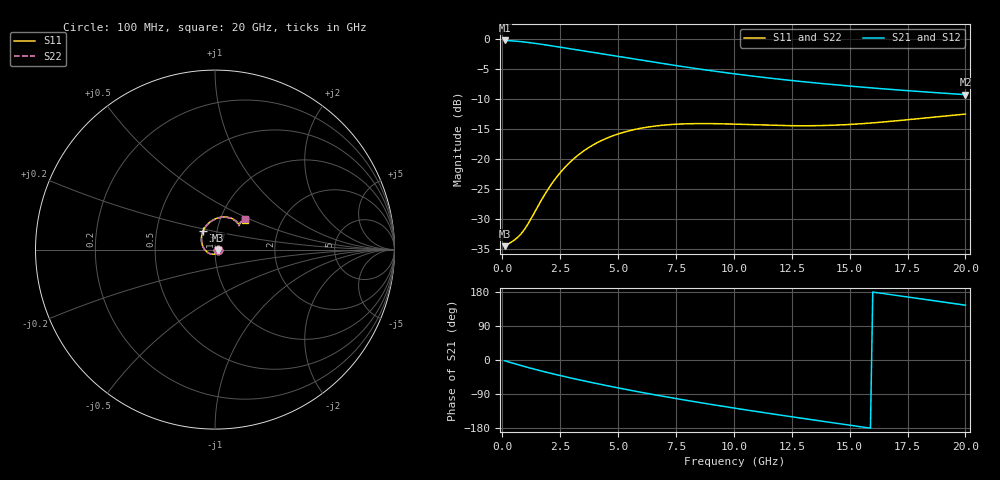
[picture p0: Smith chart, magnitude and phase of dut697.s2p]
! Touchstone file exported from HFSS 2024.1.0
!  File:  C:/UserFiles/LocalFiles/RDL_TSV_Batchsim/temp_RDL_TSV_697_1779820631.aedt
!  Generated:  02:51:00 AM May 27, 2026
!  Design:  RDL_TSV
!  Project:  temp_RDL_TSV_697_1779820631
!  Setup:  Setup1
!  Solution:  Sweep
! Variables:
!  dtsv = 9.87um
!  hbump = 3um
!  htsv = 91.05um
!  ldown = 656.28um
!  lrdl = 251.63um
!  p = 40
!  p1 = 41.56um
!  rhole = 10um
!  subl = 2975.36um
!  t = 450um
!  tdown = 2.09um
!  trdl = 2.99um
!  viad = 10um
!  wdown = 26.75um
!  wrdl = 21.98um
!  xbump = 18um
# GHz S MA R 50.000000
! Terminal data exported
! Port[1] = TM1_1_T1
! Port[2] = TM1_4_T1
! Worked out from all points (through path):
!   200 points, 100 MHz to 20 GHz, reference 50 ohm
!   highest |S21| = -0.17 dB at 100 MHz (marker M1); lowest = -9.2 dB at 20 GHz (marker M2)
!   group delay of S21, straight-line fit = 28.4 ps
!   lowest |S11| = -34.6 dB at 100 MHz (marker M3), VSWR 1.04, Z = 51.9 - j0.278 ohm
!   |S11| at or under -10 dB: start of sweep to end of sweep
!   |S22| runs from -34.6 to -12.5 dB; largest |S21 - S12| = 1.7e-14
!   S11 on the Smith chart (normalised r, x): 100 MHz: 1.04, -0.01; 3.7 GHz: 0.86, +0.18; 20 GHz: 1.31, +0.46
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0.1  0.01869 -8.2  0.9809 -1.9  0.9809 -1.9  0.01869 -8.2
! Gamma 0 0 0 0
! Port Impedance 50 0 50 0
0.6  0.02162 -59.9  0.9672 -11.0  0.9672 -11.0  0.02164 -59.8
0.9  0.02491 -93.6  0.9546 -16.2  0.9546 -16.2  0.02493 -93.4
1.2  0.03073 -123.8  0.9396 -21.2  0.9396 -21.2  0.03071 -123.5
1.7  0.04575 -162.0  0.9108 -29.2  0.9108 -29.2  0.04562 -161.8
2.1  0.06078 176.0  0.8864 -35.3  0.8864 -35.3  0.06053 176.2
2.5  0.07692 158.7  0.8617 -41.1  0.8617 -41.1  0.07655 158.8
3  0.09718 141.3  0.8315 -48.1  0.8315 -48.1  0.09664 141.5
3.5  0.1164 127.2  0.8022 -54.8  0.8022 -54.8  0.1157 127.3
3.7  0.1236 122.2  0.7908 -57.4  0.7908 -57.4  0.1228 122.3
4.4  0.1462 107.0  0.7522 -66.3  0.7522 -66.3  0.1452 107.1
5.1  0.1644 94.5  0.7154 -74.8  0.7154 -74.8  0.1632 94.6
5.9  0.1797 82.8  0.6758 -84.2  0.6758 -84.2  0.1783 82.8
6.8  0.1907 72.1  0.6344 -94.2  0.6344 -94.2  0.1891 72.2
8.4  0.1979 58.4  0.5697 -111.0  0.5697 -111.0  0.1961 58.5
10.1  0.1957 49.7  0.5137 -127.7  0.5137 -127.7  0.1937 49.9
11.7  0.1913 45.9  0.4714 -142.6  0.4714 -142.6  0.1893 46.1
13.4  0.19 45.0  0.4353 -157.9  0.4353 -157.9  0.1881 45.4
15  0.1947 45.8  0.4076 -172.0  0.4076 -172.0  0.1931 46.3
16.7  0.2061 46.4  0.3832 173.2  0.3832 173.2  0.2048 47.0
18.4  0.2218 46.1  0.3625 158.4  0.3625 158.4  0.2209 46.6
20  0.2377 44.5  0.3457 144.7  0.3457 144.7  0.2371 45.1
